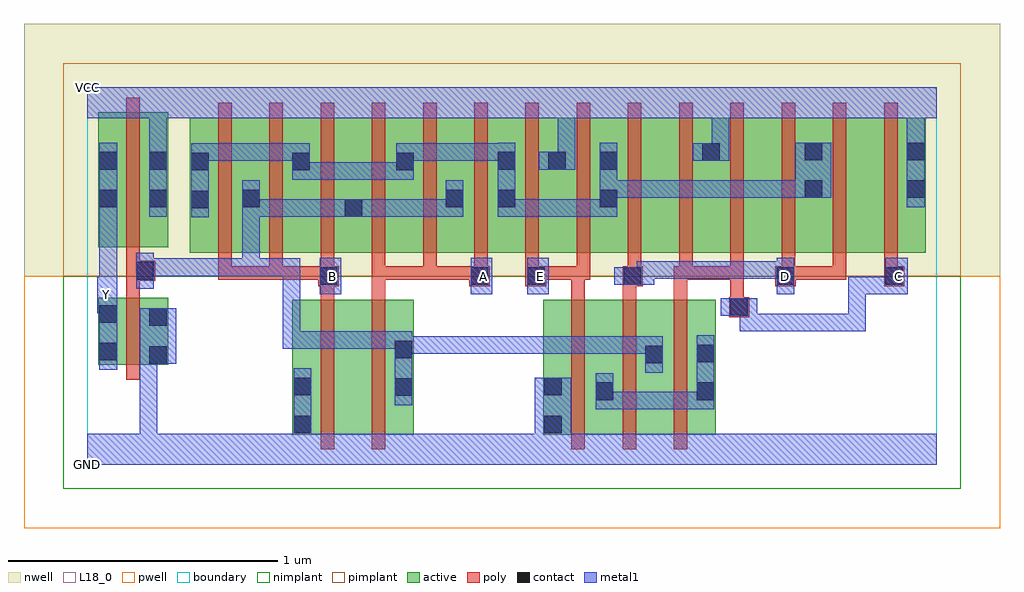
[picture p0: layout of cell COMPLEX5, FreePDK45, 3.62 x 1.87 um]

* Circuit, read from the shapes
.subckt COMPLEX5 A B C D E GND VCC Y
M1 GND n1 Y VSUBS nfet w=0.25u l=0.05u
M2 n2 B GND VSUBS nfet w=0.5u l=0.05u
M3 n1 A n2 VSUBS nfet w=0.5u l=0.05u
M4 n3 E GND VSUBS nfet w=0.5u l=0.05u
M5 n1 D n3 VSUBS nfet w=0.5u l=0.05u
M6 n3 C n1 VSUBS nfet w=0.5u l=0.05u
M7 VCC n1 Y n4 pfet w=0.5u l=0.05u
M8 n1 B n5 n4 pfet w=0.5u l=0.05u m=3
M9 n5 A n1 n4 pfet w=0.5u l=0.05u m=3
M10 VCC E n5 n4 pfet w=0.5u l=0.05u m=2
M11 n6 D n5 n4 pfet w=0.5u l=0.05u
M12 VCC C n6 n4 pfet w=0.5u l=0.05u
M13 n7 C VCC n4 pfet w=0.5u l=0.05u
M14 n5 D n7 n4 pfet w=0.5u l=0.05u
M15 n8 D n5 n4 pfet w=0.5u l=0.05u
M16 VCC C n8 n4 pfet w=0.5u l=0.05u
.ends

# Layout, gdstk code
import gdstk
lib = gdstk.Library(unit=1e-6, precision=1e-09)
def R(c, l, rs):  # rectangles x0, y0, x1, y1
    for r in rs: c.add(gdstk.rectangle(r[:2], r[2:], *l))
def A(c, l, x, y, w, h, nx, ny, dx, dy):  # array of equal rectangles
    R(c, l, [(x+i*dx, y+j*dy, x+i*dx+w, y+j*dy+h) for i in range(nx) for j in range(ny)])
active = (1, 0)
pwell = (2, 0)
nwell = (3, 0)
nimplant = (4, 0)
pimplant = (5, 0)
poly = (9, 0)
contact = (10, 0)
metal1 = (11, 0)
L18_0 = (18, 0)
boundary = (235, 0)

complex5 = lib.new_cell('COMPLEX5')
A(complex5, active, 1.895, 0.787, 0.23, 0.5, 3, 1, 0.38, 0)
A(complex5, active, 2.125, 0.787, 0.225, 0.5, 3, 1, 0.38, 0)
R(complex5, active, [(0.76,0.112,0.985,0.612), (0.76,0.112,0.835,0.592), (0.985,0.112,1.21,0.612), (1.69,0.112,1.955,0.612), (1.69,0.112,1.765,0.612), (1.88,0.112,2.14,0.612), (2.065,0.112,2.33,0.612), (1.135,0.145,1.21,0.612), (1.88,0.145,1.955,0.592), (2.065,0.145,2.14,0.592), (2.255,0.145,2.33,0.612), (0.04,0.37,0.3,0.62), (0.225,0.37,0.3,0.62), (0.04,0.382,0.115,0.62), (0.38,0.787,0.645,1.287), (0.38,0.787,0.455,1.2), (0.57,0.787,0.83,1.287), (0.57,0.787,0.645,1.07), (0.755,0.787,1.025,1.287), (0.95,0.787,1.215,1.287), (0.95,0.787,1.025,1.07), (1.14,0.787,1.4,1.287), (1.14,0.787,1.215,1.2), (1.325,0.787,1.592,1.287), (1.325,0.787,1.4,1.07), (1.517,0.787,1.592,1.2), (1.517,0.787,1.78,1.287), (1.705,0.787,1.97,1.287), (1.705,0.787,1.78,1.287), (1.895,0.787,1.97,1.2), (2.275,0.787,2.35,1.287), (2.655,0.787,2.73,1.2), (3.035,0.787,3.11,1.287), (0.04,0.807,0.3,1.307), (0.04,0.807,0.115,1.2), (0.225,0.807,0.3,1.307), (0.755,0.807,0.83,1.2)])
R(complex5, pwell, [(-0.235,-0.235,3.385,0.7)])
R(complex5, nwell, [(-0.235,0.7,3.385,1.635)])
R(complex5, nimplant, [(-0.09,-0.09,3.24,0.7)])
R(complex5, pimplant, [(-0.09,0.7,3.24,1.49)])
A(complex5, poly, 1.795, 0.057, 0.05, 0.61, 3, 1, 0.19, 0)
A(complex5, poly, 0.485, 0.687, 0.05, 0.095, 14, 1, 0.19, 0)
A(complex5, poly, 0.485, 0.732, 0.05, 0.61, 14, 1, 0.19, 0)
R(complex5, poly, [(0.865,0.057,0.915,0.667), (1.055,0.057,1.105,0.667), (0.145,0.315,0.195,0.675), (2.38,0.547,2.455,0.622), (2.385,0.572,2.435,0.737), (0.865,0.617,0.915,0.712), (1.055,0.617,1.105,0.737), (1.795,0.617,1.845,0.737), (1.985,0.617,2.035,0.712), (2.175,0.617,2.225,0.737), (0.145,0.625,0.195,0.732), (0.857,0.662,0.932,0.737), (1.417,0.662,1.492,0.737), (1.625,0.662,1.702,0.737), (1.985,0.662,2.06,0.737), (2.552,0.662,2.627,0.737), (2.955,0.662,3.03,0.737), (0.145,0.682,0.252,0.757), (0.485,0.687,0.535,0.737), (0.485,0.687,0.535,0.737), (0.485,0.687,0.535,0.737), (0.485,0.687,0.725,0.737), (0.675,0.687,0.725,0.737), (0.675,0.687,0.725,0.737), (0.675,0.687,0.725,0.737), (0.675,0.687,0.907,0.737), (1.055,0.687,1.105,0.737), (1.055,0.687,1.105,0.737), (1.055,0.687,1.105,0.737), (1.055,0.687,1.295,0.737), (1.245,0.687,1.295,0.737), (1.245,0.687,1.467,0.737), (1.417,0.687,1.467,0.737), (1.417,0.687,1.467,0.737), (1.652,0.687,1.845,0.737), (1.795,0.687,1.845,0.737), (1.795,0.687,1.845,0.737), (1.795,0.687,1.865,0.737), (2.175,0.687,2.245,0.737), (2.195,0.687,2.435,0.737), (2.385,0.687,2.435,0.737), (2.385,0.687,2.435,0.737), (2.385,0.687,2.435,0.737), (2.385,0.687,2.435,0.737), (2.385,0.687,2.435,0.737), (2.577,0.687,2.815,0.737), (2.577,0.687,2.627,0.737), (2.577,0.687,2.627,0.737), (2.765,0.687,2.815,0.737), (0.145,0.707,0.195,0.802), (0.145,0.752,0.195,1.362)])
R(complex5, contact, [(0.765,0.117,0.83,0.182), (1.695,0.117,1.76,0.182), (1.885,0.24,1.95,0.305), (2.26,0.24,2.325,0.305), (1.14,0.255,1.205,0.32), (0.765,0.257,0.83,0.322), (1.695,0.257,1.76,0.322), (0.23,0.375,0.295,0.44), (2.07,0.377,2.135,0.442), (2.26,0.38,2.325,0.445), (0.045,0.387,0.11,0.452), (1.14,0.395,1.205,0.46), (0.23,0.515,0.295,0.58), (0.045,0.527,0.11,0.592), (2.385,0.552,2.45,0.617), (0.862,0.667,0.927,0.732), (1.422,0.667,1.487,0.732), (1.632,0.667,1.697,0.732), (1.99,0.667,2.055,0.732), (2.557,0.667,2.622,0.732), (2.96,0.667,3.025,0.732), (0.182,0.687,0.247,0.752), (0.955,0.92,1.02,0.985), (0.385,0.952,0.45,1.017), (0.045,0.955,0.11,1.02), (0.23,0.955,0.295,1.02), (0.575,0.955,0.64,1.02), (1.33,0.955,1.395,1.02), (1.522,0.955,1.587,1.02), (1.9,0.955,1.965,1.02), (2.66,0.99,2.725,1.055), (3.04,0.99,3.105,1.055), (0.385,1.092,0.45,1.157), (0.76,1.092,0.825,1.157), (1.145,1.092,1.21,1.157), (0.045,1.095,0.11,1.16), (0.23,1.095,0.295,1.16), (1.522,1.095,1.587,1.16), (1.71,1.095,1.775,1.16), (1.9,1.095,1.965,1.16), (2.28,1.127,2.345,1.192), (2.66,1.13,2.725,1.195), (3.04,1.13,3.105,1.195)])
R(complex5, metal1, [(0,0,3.15,0.115), (0.195,0.05,0.26,0.44), (0.765,0.05,0.83,0.115), (0.765,0.05,0.83,0.115), (0.765,0.05,0.83,0.147), (1.73,0.05,1.795,0.115), (1.73,0.05,1.795,0.115), (1.73,0.05,1.795,0.182), (0.765,0.082,0.83,0.357), (1.66,0.117,1.795,0.322), (1.885,0.205,1.95,0.34), (1.885,0.205,2.102,0.27), (2.037,0.205,2.102,0.27), (2.037,0.205,2.102,0.27), (2.037,0.205,2.102,0.27), (2.037,0.205,2.277,0.27), (2.212,0.205,2.277,0.27), (2.212,0.205,2.325,0.27), (2.26,0.205,2.325,0.48), (1.14,0.22,1.205,0.495), (2.07,0.342,2.135,0.477), (0.045,0.352,0.11,0.627), (0.195,0.375,0.26,0.44), (0.195,0.375,0.26,0.44), (0.195,0.375,0.26,0.44), (0.195,0.375,0.26,0.44), (0.195,0.375,0.26,0.44), (0.195,0.375,0.26,0.44), (0.195,0.375,0.33,0.58), (1.14,0.412,1.205,0.477), (1.14,0.412,1.205,0.477), (1.14,0.412,1.422,0.477), (1.357,0.412,1.56,0.477), (1.357,0.412,1.422,0.477), (1.357,0.412,1.422,0.477), (1.357,0.412,1.422,0.477), (1.495,0.412,1.56,0.477), (1.495,0.412,1.56,0.477), (1.495,0.412,1.56,0.477), (1.495,0.412,1.812,0.477), (1.747,0.412,1.95,0.477), (1.747,0.412,1.812,0.477), (1.747,0.412,1.812,0.477), (1.747,0.412,1.812,0.477), (1.885,0.412,1.95,0.477), (1.885,0.412,1.95,0.477), (1.885,0.412,1.95,0.477), (1.885,0.412,2.135,0.477), (0.725,0.43,0.79,0.495), (0.725,0.43,0.79,0.495), (0.725,0.43,0.79,0.495), (0.725,0.43,1.067,0.495), (0.725,0.43,0.79,0.765), (1.002,0.43,1.205,0.495), (1.002,0.43,1.067,0.495), (1.002,0.43,1.067,0.495), (1.002,0.43,1.067,0.495), (2.42,0.495,2.485,0.56), (2.42,0.495,2.622,0.56), (2.42,0.495,2.485,0.617), (2.42,0.495,2.485,0.617), (2.557,0.495,2.622,0.56), (2.557,0.495,2.622,0.56), (2.557,0.495,2.622,0.56), (2.557,0.495,2.887,0.56), (2.822,0.495,2.887,0.697), (2.822,0.495,2.887,0.56), (2.822,0.495,2.887,0.56), (2.822,0.495,2.887,0.56), (2.35,0.552,2.485,0.617), (2.42,0.552,2.485,0.617), (0.037,0.562,0.11,0.697), (0.045,0.562,0.11,0.627), (0.045,0.632,0.11,0.985), (0.862,0.632,0.942,0.767), (1.422,0.632,1.502,0.767), (1.632,0.632,1.712,0.767), (2.557,0.632,2.622,0.767), (2.822,0.632,3.025,0.697), (2.822,0.632,2.887,0.697), (2.96,0.632,3.042,0.767), (0.182,0.652,0.247,0.787), (1.955,0.667,2.102,0.732), (2.037,0.667,2.102,0.732), (2.037,0.667,2.102,0.755), (2.037,0.69,2.277,0.755), (2.212,0.69,2.415,0.755), (2.212,0.69,2.277,0.755), (2.212,0.69,2.277,0.755), (2.212,0.69,2.277,0.755), (2.35,0.69,2.415,0.755), (2.35,0.69,2.415,0.755), (2.35,0.69,2.415,0.755), (2.35,0.69,2.622,0.755), (0.182,0.7,0.247,0.765), (0.182,0.7,0.247,0.765), (0.182,0.7,0.502,0.765), (0.437,0.7,0.64,0.765), (0.437,0.7,0.502,0.765), (0.437,0.7,0.502,0.765), (0.437,0.7,0.502,0.765), (0.575,0.7,0.64,0.765), (0.575,0.7,0.64,0.765), (0.575,0.7,0.64,0.765), (0.575,0.7,0.79,0.765), (0.575,0.7,0.64,0.985), (0.725,0.7,0.79,0.765), (0.385,0.917,0.45,1.192), (0.045,0.92,0.11,1.195), (0.23,0.92,0.295,1.195), (0.575,0.92,0.64,0.985), (0.575,0.92,0.64,0.985), (0.575,0.92,0.64,1.055), (0.575,0.92,0.79,0.985), (0.725,0.92,0.79,0.985), (0.725,0.92,0.79,0.985), (0.725,0.92,0.79,0.985), (0.725,0.92,0.985,0.985), (0.92,0.92,1.055,0.985), (0.99,0.92,1.055,0.985), (0.99,0.92,1.055,0.985), (0.99,0.92,1.257,0.985), (1.192,0.92,1.395,0.985), (1.192,0.92,1.257,0.985), (1.192,0.92,1.257,0.985), (1.192,0.92,1.257,0.985), (1.33,0.92,1.395,1.055), (1.522,0.92,1.587,1.195), (1.522,0.92,1.725,0.985), (1.522,0.92,1.587,0.985), (1.522,0.92,1.587,0.985), (1.522,0.92,1.587,0.985), (1.522,0.92,1.587,0.985), (1.66,0.92,1.725,0.985), (1.66,0.92,1.725,0.985), (1.66,0.92,1.725,0.985), (1.66,0.92,1.965,0.985), (1.9,0.92,1.965,1.195), (3.04,0.955,3.105,1.23), (1.9,0.99,1.965,1.055), (1.9,0.99,1.965,1.055), (1.9,0.99,2.102,1.055), (2.037,0.99,2.102,1.055), (2.037,0.99,2.277,1.055), (2.212,0.99,2.415,1.055), (2.212,0.99,2.277,1.055), (2.212,0.99,2.277,1.055), (2.212,0.99,2.277,1.055), (2.35,0.99,2.415,1.055), (2.35,0.99,2.415,1.055), (2.35,0.99,2.415,1.055), (2.35,0.99,2.69,1.055), (2.625,0.99,2.69,1.055), (2.625,0.99,2.69,1.055), (2.625,0.99,2.76,1.195), (0.76,1.057,0.825,1.122), (0.76,1.057,0.825,1.122), (0.76,1.057,0.825,1.192), (0.76,1.057,1.067,1.122), (1.002,1.057,1.067,1.122), (1.002,1.057,1.067,1.122), (1.002,1.057,1.067,1.122), (1.002,1.057,1.21,1.122), (1.145,1.057,1.21,1.192), (1.675,1.095,1.81,1.16), (1.745,1.095,1.81,1.35), (0.385,1.127,0.45,1.192), (0.385,1.127,0.45,1.192), (0.385,1.127,0.64,1.192), (0.575,1.127,0.64,1.192), (0.575,1.127,0.64,1.192), (0.575,1.127,0.64,1.192), (0.575,1.127,0.825,1.192), (1.145,1.127,1.21,1.192), (1.145,1.127,1.21,1.192), (1.145,1.127,1.422,1.192), (1.357,1.127,1.422,1.192), (1.357,1.127,1.422,1.192), (1.357,1.127,1.422,1.192), (1.357,1.127,1.587,1.192), (2.245,1.127,2.38,1.192), (2.315,1.127,2.38,1.35), (0.23,1.13,0.295,1.35), (3.04,1.165,3.105,1.35), (0,1.285,3.15,1.4)])
R(complex5, L18_0, [(0,0,3.15,0.115), (0.195,0.05,0.26,0.44), (0.765,0.05,0.83,0.115), (0.765,0.05,0.83,0.115), (0.765,0.05,0.83,0.147), (1.73,0.05,1.795,0.115), (1.73,0.05,1.795,0.115), (1.73,0.05,1.795,0.182), (0.765,0.082,0.83,0.357), (1.66,0.117,1.795,0.322), (0.045,0.352,0.11,0.627), (0.195,0.375,0.26,0.44), (0.195,0.375,0.26,0.44), (0.195,0.375,0.26,0.44), (0.195,0.375,0.26,0.44), (0.195,0.375,0.26,0.44), (0.195,0.375,0.26,0.44), (0.195,0.375,0.33,0.58), (2.42,0.495,2.485,0.56), (2.42,0.495,2.485,0.617), (2.42,0.495,2.485,0.617), (2.42,0.495,2.622,0.56), (2.557,0.495,2.622,0.56), (2.557,0.495,2.622,0.56), (2.557,0.495,2.622,0.56), (2.557,0.495,2.887,0.56), (2.822,0.495,2.887,0.56), (2.822,0.495,2.887,0.56), (2.822,0.495,2.887,0.56), (2.822,0.495,2.887,0.697), (2.35,0.552,2.485,0.617), (2.42,0.552,2.485,0.617), (0.037,0.562,0.11,0.697), (0.045,0.562,0.11,0.627), (0.037,0.597,0.102,0.662), (0.045,0.632,0.11,0.985), (0.862,0.632,0.942,0.767), (1.422,0.632,1.502,0.767), (1.632,0.632,1.712,0.767), (2.557,0.632,2.622,0.767), (2.822,0.632,2.887,0.697), (2.822,0.632,3.025,0.697), (2.96,0.632,3.042,0.767), (0.877,0.667,0.942,0.732), (1.437,0.667,1.502,0.732), (1.647,0.667,1.712,0.732), (1.955,0.667,2.102,0.732), (2.037,0.667,2.102,0.732), (2.037,0.667,2.102,0.755), (2.557,0.667,2.622,0.732), (2.977,0.667,3.042,0.732), (2.037,0.69,2.277,0.755), (2.212,0.69,2.277,0.755), (2.212,0.69,2.277,0.755), (2.212,0.69,2.277,0.755), (2.212,0.69,2.415,0.755), (2.35,0.69,2.415,0.755), (2.35,0.69,2.415,0.755), (2.35,0.69,2.415,0.755), (2.35,0.69,2.622,0.755), (0.045,0.92,0.11,1.195), (0.23,0.92,0.295,1.195), (3.04,0.955,3.105,1.23), (1.675,1.095,1.81,1.16), (1.745,1.095,1.81,1.35), (2.245,1.127,2.38,1.192), (2.315,1.127,2.38,1.35), (0.23,1.13,0.295,1.35), (3.04,1.165,3.105,1.35), (0,1.285,3.15,1.4)])
R(complex5, boundary, [(0,0,3.15,1.4)])
complex5.add(gdstk.Label('A', (1.47,0.7), layer=11, texttype=0))
complex5.add(gdstk.Label('B', (0.91,0.7), layer=11, texttype=0))
complex5.add(gdstk.Label('C', (3.01,0.7), layer=11, texttype=0))
complex5.add(gdstk.Label('D', (2.59,0.7), layer=11, texttype=0))
complex5.add(gdstk.Label('E', (1.68,0.7), layer=11, texttype=0))
complex5.add(gdstk.Label('Y', (0.07,0.63), layer=11, texttype=0))
complex5.add(gdstk.Label('VCC', (0,1.4), layer=11, texttype=0))
complex5.add(gdstk.Label('GND', (0,0), layer=11, texttype=0))

lib.write_gds('COMPLEX5.gds')
